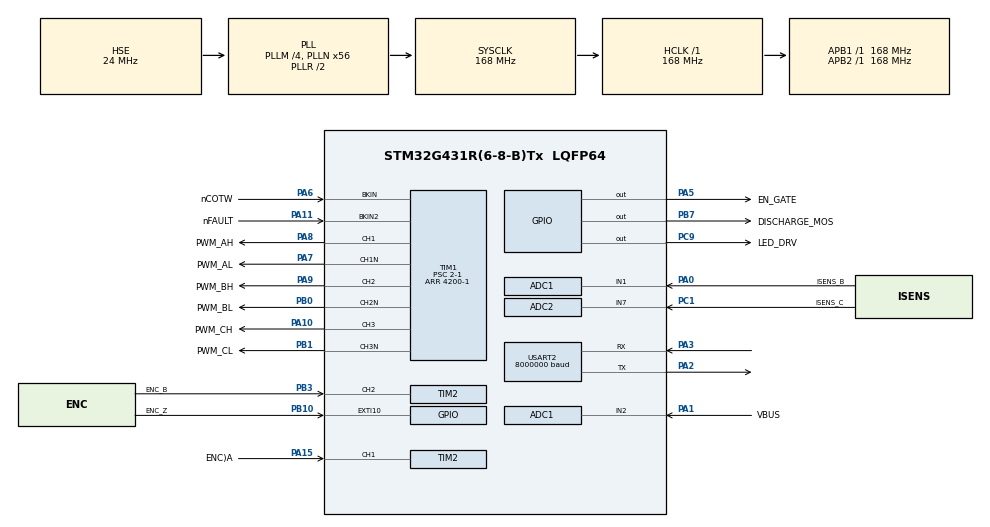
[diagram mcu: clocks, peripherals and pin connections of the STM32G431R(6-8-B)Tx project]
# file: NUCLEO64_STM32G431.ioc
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ADC1.Channel-0\#ChannelRegularConversion=ADC_CHANNEL_1
ADC1.EnableInjectedConversion=ENABLE
ADC1.ExternalTrigInjecConv=ADC_EXTERNALTRIGINJEC_T1_TRGO
ADC1.InjNumberOfConversion=2
ADC1.InjectedChannel-1\#ChannelInjectedConversion=ADC_CHANNEL_1
ADC1.InjectedChannel-2\#ChannelInjectedConversion=ADC_CHANNEL_2
ADC1.InjectedOffsetNumber-1\#ChannelInjectedConversion=ADC_OFFSET_NONE
ADC1.InjectedOffsetNumber-2\#ChannelInjectedConversion=ADC_OFFSET_NONE
ADC1.InjectedRank-1\#ChannelInjectedConversion=1
ADC1.InjectedRank-2\#ChannelInjectedConversion=2
ADC1.InjectedSamplingTime-1\#ChannelInjectedConversion=ADC_SAMPLETIME_12CYCLES_5
ADC1.InjectedSamplingTime-2\#ChannelInjectedConversion=ADC_SAMPLETIME_12CYCLES_5
ADC1.NbrOfConversionFlag=1
ADC1.OffsetNumber-0\#ChannelRegularConversion=ADC_OFFSET_NONE
ADC1.Rank-0\#ChannelRegularConversion=1
ADC1.Rank1_Channel=ADC_CHANNEL_1
ADC1.Rank2_Channel=ADC_CHANNEL_2
ADC1.SamplingTime-0\#ChannelRegularConversion=ADC_SAMPLETIME_2CYCLES_5
ADC1.master=1
ADC2.Channel-0\#ChannelRegularConversion=ADC_CHANNEL_7
ADC2.EnableInjectedConversion=ENABLE
ADC2.ExternalTrigInjecConv=ADC_EXTERNALTRIGINJEC_T1_TRGO
ADC2.InjNumberOfConversion=1
ADC2.InjectedChannel-1\#ChannelInjectedConversion=ADC_CHANNEL_7
ADC2.InjectedOffsetNumber-1\#ChannelInjectedConversion=ADC_OFFSET_NONE
ADC2.InjectedRank-1\#ChannelInjectedConversion=1
ADC2.InjectedSamplingTime-1\#ChannelInjectedConversion=ADC_SAMPLETIME_12CYCLES_5
ADC2.NbrOfConversionFlag=1
ADC2.OffsetNumber-0\#ChannelRegularConversion=ADC_OFFSET_NONE
ADC2.Rank-0\#ChannelRegularConversion=1
ADC2.Rank1_Channel=ADC_CHANNEL_7
ADC2.SamplingTime-0\#ChannelRegularConversion=ADC_SAMPLETIME_2CYCLES_5
CRC.CRCLength=CRC_POLYLENGTH_16B
CRC.DefaultInitValueUse=DEFAULT_INIT_VALUE_DISABLE
CRC.DefaultPolynomialUse=DEFAULT_POLYNOMIAL_DISABLE
CRC.GeneratingPolynomial=X15+X2+X0
CRC.InitValue=0xFFFF
CRC.InputDataInversionMode=CRC_INPUTDATA_INVERSION_BYTE
CRC.OutputDataInversionMode=CRC_OUTPUTDATA_INVERSION_ENABLE
Dma.Request0=USART2_TX
Dma.Request1=USART2_RX
Dma.USART2_RX.1.Direction=DMA_PERIPH_TO_MEMORY
Dma.USART2_RX.1.EventEnable=DISABLE
Dma.USART2_RX.1.Instance=DMA1_Channel2
Dma.USART2_RX.1.MemDataAlignment=DMA_MDATAALIGN_BYTE
Dma.USART2_RX.1.MemInc=DMA_MINC_ENABLE
Dma.USART2_RX.1.Mode=DMA_NORMAL
Dma.USART2_RX.1.PeriphDataAlignment=DMA_PDATAALIGN_BYTE
Dma.USART2_RX.1.PeriphInc=DMA_PINC_DISABLE
Dma.USART2_RX.1.Polarity=HAL_DMAMUX_REQ_GEN_RISING
Dma.USART2_RX.1.Priority=DMA_PRIORITY_LOW
Dma.USART2_RX.1.RequestNumber=1
Dma.USART2_RX.1.SignalID=NONE
Dma.USART2_RX.1.SyncEnable=DISABLE
Dma.USART2_RX.1.SyncPolarity=HAL_DMAMUX_SYNC_NO_EVENT
Dma.USART2_RX.1.SyncRequestNumber=1
Dma.USART2_RX.1.SyncSignalID=NONE
Dma.USART2_TX.0.Direction=DMA_MEMORY_TO_PERIPH
Dma.USART2_TX.0.EventEnable=DISABLE
Dma.USART2_TX.0.Instance=DMA1_Channel1
Dma.USART2_TX.0.MemDataAlignment=DMA_MDATAALIGN_BYTE
Dma.USART2_TX.0.MemInc=DMA_MINC_ENABLE
Dma.USART2_TX.0.Mode=DMA_NORMAL
Dma.USART2_TX.0.PeriphDataAlignment=DMA_PDATAALIGN_BYTE
Dma.USART2_TX.0.PeriphInc=DMA_PINC_DISABLE
Dma.USART2_TX.0.Polarity=HAL_DMAMUX_REQ_GEN_RISING
Dma.USART2_TX.0.Priority=DMA_PRIORITY_LOW
Dma.USART2_TX.0.RequestNumber=1
Dma.USART2_TX.0.SignalID=NONE
Dma.USART2_TX.0.SyncEnable=DISABLE
Dma.USART2_TX.0.SyncPolarity=HAL_DMAMUX_SYNC_NO_EVENT
Dma.USART2_TX.0.SyncRequestNumber=1
Dma.USART2_TX.0.SyncSignalID=NONE
Mcu.Family=STM32G4
Mcu.Name=STM32G431R(6-8-B)Tx
Mcu.Package=LQFP64
NVIC.ADC1_2_IRQn=true\:1\:0\:true\:false\:true\:true\:true
NVIC.DMA1_Channel1_IRQn=true\:0\:0\:false\:false\:true\:false\:true
NVIC.DMA1_Channel2_IRQn=true\:0\:0\:false\:false\:true\:false\:true
NVIC.EXTI15_10_IRQn=true\:2\:0\:true\:false\:true\:true\:true
NVIC.PriorityGroup=NVIC_PRIORITYGROUP_4
NVIC.USART2_IRQn=true\:3\:0\:true\:false\:true\:true\:true
PA0.GPIO_Label=ISENS_B
PA0.Mode=IN1-Single-Ended
PA0.Signal=ADC1_IN1
PA1.GPIO_Label=VBUS
PA1.Mode=IN2-Single-Ended
PA1.Signal=ADC1_IN2
PA10.GPIO_Label=PWM_CH
PA10.Signal=S_TIM1_CH3
PA11.GPIO_Label=nFAULT
PA11.Mode=Activate-Break-Input-2
PA11.Signal=TIM1_BKIN2
PA13.Mode=Serial_Wire
PA13.Signal=SYS_JTMS-SWDIO
PA14.Mode=Serial_Wire
PA14.Signal=SYS_JTCK-SWCLK
PA15.GPIO_Label=ENC)A
PA15.Signal=S_TIM2_CH1
PA2.GPIO_Speed=GPIO_SPEED_FREQ_MEDIUM
PA2.Mode=Asynchronous
PA2.Signal=USART2_TX
PA3.GPIO_Speed=GPIO_SPEED_FREQ_MEDIUM
PA3.Mode=Asynchronous
PA3.Signal=USART2_RX
PA5.GPIO_Label=EN_GATE
PA5.Signal=GPIO_Output
PA6.GPIO_Label=nCOTW
PA6.Mode=Activate-Break-Input
PA6.Signal=TIM1_BKIN
PA7.GPIO_Label=PWM_AL
PA7.Mode=PWM Generation1 CH1 CH1N
PA7.Signal=TIM1_CH1N
PA8.GPIO_Label=PWM_AH
PA8.Signal=S_TIM1_CH1
PA9.GPIO_Label=PWM_BH
PA9.Signal=S_TIM1_CH2
PB0.GPIO_Label=PWM_BL
PB0.Mode=PWM Generation2 CH2 CH2N
PB0.Signal=TIM1_CH2N
PB1.GPIO_Label=PWM_CL
PB1.Mode=PWM Generation3 CH3 CH3N
PB1.Signal=TIM1_CH3N
PB10.GPIO_Label=ENC_Z
PB10.Signal=GPXTI10
PB3.GPIO_Label=ENC_B
PB3.Signal=S_TIM2_CH2
PB7.GPIO_Label=DISCHARGE_MOS
PB7.Signal=GPIO_Output
PC1.GPIO_Label=ISENS_C
PC1.Mode=IN7-Single-Ended
PC1.Signal=ADC2_IN7
PC9.GPIO_Label=LED_DRV
PC9.Signal=GPIO_Output
PF0-OSC_IN.Mode=HSE-External-Oscillator
PF0-OSC_IN.Signal=RCC_OSC_IN
PF1-OSC_OUT.Mode=HSE-External-Oscillator
PF1-OSC_OUT.Signal=RCC_OSC_OUT
ProjectManager.HeapSize=0x200
ProjectManager.StackSize=0x400
ProjectManager.TargetToolchain=MDK-ARM V5.27
RCC.ADC12Freq_Value=168000000
RCC.AHBFreq_Value=168000000
RCC.APB1Freq_Value=168000000
RCC.APB1TimFreq_Value=168000000
RCC.APB2Freq_Value=168000000
RCC.APB2TimFreq_Value=168000000
RCC.CortexFreq_Value=168000000
RCC.EXTERNAL_CLOCK_VALUE=12288000
RCC.HCLKFreq_Value=168000000
RCC.HSE_VALUE=24000000
RCC.HSI48_VALUE=48000000
RCC.HSI_VALUE=16000000
RCC.LSE_VALUE=32768
RCC.PLLM=RCC_PLLM_DIV4
RCC.PLLN=56
RCC.PLLSourceVirtual=RCC_PLLSOURCE_HSE
RCC.SYSCLKFreq_VALUE=168000000
RCC.SYSCLKSource=RCC_SYSCLKSOURCE_PLLCLK
RCC.USBFreq_Value=168000000
RCC.VCOOutputFreq_Value=336000000
SH.S_TIM1_CH1.0=TIM1_CH1,PWM Generation1 CH1 CH1N
SH.S_TIM1_CH2.0=TIM1_CH2,PWM Generation2 CH2 CH2N
SH.S_TIM1_CH3.0=TIM1_CH3,PWM Generation3 CH3 CH3N
SH.S_TIM2_CH1.0=TIM2_CH1,Encoder_Interface
SH.S_TIM2_CH2.0=TIM2_CH2,Encoder_Interface
TIM1.Break2State=TIM_BREAK2_DISABLE
TIM1.BreakFilter=15
TIM1.BreakState=TIM_BREAK_DISABLE
TIM1.Channel-PWM\ Generation1\ CH1\ CH1N=TIM_CHANNEL_1
TIM1.Channel-PWM\ Generation2\ CH2\ CH2N=TIM_CHANNEL_2
TIM1.Channel-PWM\ Generation3\ CH3\ CH3N=TIM_CHANNEL_3
TIM1.Channel-PWM\ Generation4\ No\ Output=TIM_CHANNEL_4
TIM1.CounterMode=TIM_COUNTERMODE_CENTERALIGNED1
TIM1.DeadTime=68
TIM1.OCMode_PWM-PWM\ Generation4\ No\ Output=TIM_OCMODE_PWM2
TIM1.PeriodNoDither=4200-1
TIM1.Prescaler=2-1
TIM1.PulseNoDither_4=4200-2
TIM1.RepetitionCounter=1
TIM1.SourceBRK2DigInput=TIM_BREAKINPUTSOURCE_DISABLE
TIM1.SourceBRKDigInput=TIM_BREAKINPUTSOURCE_DISABLE
TIM1.TIM_MasterOutputTrigger=TIM_TRGO_OC4REF
TIM2.EncoderMode=TIM_ENCODERMODE_TI12
TIM2.IC1Filter=15
TIM2.IC2Filter=15
USART2.BaudRate=8000000
USART2.VirtualMode-Asynchronous=VM_ASYNC
VP_CORDIC_VS_CORDIC.Mode=CORDIC_Activate
VP_CRC_VS_CRC.Mode=CRC_Activate
VP_SYS_VS_DBSignals.Mode=DisableDeadBatterySignals
VP_TIM1_VS_ClockSourceINT.Mode=Internal
VP_TIM1_VS_no_output4.Mode=PWM Generation4 No Output
VP_TIM4_VS_ClockSourceINT.Mode=Internal
board=custom

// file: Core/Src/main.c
/* USER CODE BEGIN Header */
/**
  ******************************************************************************
  * @file           : main.c
  * @brief          : Main program body
  ******************************************************************************
  * @attention
  *
  * <h2><center>&copy; Copyright (c) 2021 STMicroelectronics.
  * All rights reserved.</center></h2>
  *
  * This software component is licensed by ST under BSD 3-Clause license,
  * the "License"; You may not use this file except in compliance with the
  * License. You may obtain a copy of the License at:
  *                        opensource.org/licenses/BSD-3-Clause
  *
  ******************************************************************************
  */
/* USER CODE END Header */
#include "main.h"

ADC_HandleTypeDef hadc1;
ADC_HandleTypeDef hadc2;

CRC_HandleTypeDef hcrc;

TIM_HandleTypeDef htim1;
TIM_HandleTypeDef htim2;
TIM_HandleTypeDef htim4;

UART_HandleTypeDef huart2;
DMA_HandleTypeDef hdma_usart2_tx;
DMA_HandleTypeDef hdma_usart2_rx;

/* USER CODE BEGIN PV */
uint8_t aRxBuffer[100];
/* USER CODE END PV */

void SystemClock_Config(void);
static void MX_GPIO_Init(void);
static void MX_DMA_Init(void);
static void MX_ADC1_Init(void);
static void MX_ADC2_Init(void);
static void MX_TIM1_Init(void);
static void MX_TIM2_Init(void);
static void MX_TIM4_Init(void);
static void MX_USART2_UART_Init(void);
static void MX_CORDIC_Init(void);
static void MX_CRC_Init(void);

int main(void)
{

  /* MCU Configuration--------------------------------------------------------*/

  /* Reset of all peripherals, Initializes the Flash interface and the Systick. */
  HAL_Init();

  /* Configure the system clock */
  SystemClock_Config();

  /* Initialize all configured peripherals */
  MX_GPIO_Init();
  MX_DMA_Init();
  MX_ADC1_Init();
  MX_ADC2_Init();
  MX_TIM1_Init();
  MX_TIM2_Init();
  MX_TIM4_Init();
  MX_USART2_UART_Init();
  MX_CORDIC_Init();
  MX_CRC_Init();
  /* USER CODE BEGIN 2 */

	HAL_ADCEx_Calibration_Start( &hadc1, ADC_SINGLE_ENDED);
	HAL_ADCEx_Calibration_Start( &hadc2, ADC_SINGLE_ENDED);
	__HAL_ADC_CLEAR_FLAG( &hadc1, ADC_FLAG_JEOC);
	__HAL_ADC_CLEAR_FLAG( &hadc2, ADC_FLAG_JEOC);
	HAL_ADCEx_InjectedStart_IT( &hadc1);
	HAL_ADCEx_InjectedStart( &hadc2);

	HAL_Delay(10);

	__HAL_TIM_CLEAR_FLAG( &htim1, TIM_FLAG_BREAK);
	HAL_TIM_Base_Start( &htim1);
	HAL_TIM_PWM_Start( &htim1, TIM_CHANNEL_4);

	__HAL_TIM_CLEAR_FLAG( &htim2, TIM_FLAG_BREAK);
	HAL_TIM_Encoder_Start( &htim2, TIM_CHANNEL_ALL);

	__HAL_TIM_CLEAR_FLAG( &htim4, TIM_FLAG_BREAK);
	HAL_TIM_Base_Start( &htim4);

	HAL_UART_Receive_DMA( &huart2, aRxBuffer, 3*4+2);
	__HAL_UART_ENABLE_IT( &huart2, UART_IT_IDLE);
	__HAL_UART_CLEAR_IT( &huart2, UART_CLEAR_IDLEF);
	__HAL_UART_DISABLE_IT( &huart2, UART_IT_TC);
	__HAL_UART_CLEAR_IT( &huart2, UART_CLEAR_TCF);
  /* USER CODE END 2 */

  /* Infinite loop */
  while (1)
  {

  }
}

void SystemClock_Config(void)
{
  RCC_OscInitTypeDef RCC_OscInitStruct = {0};
  RCC_ClkInitTypeDef RCC_ClkInitStruct = {0};
  RCC_PeriphCLKInitTypeDef PeriphClkInit = {0};

  /** Configure the main internal regulator output voltage
  */
  HAL_PWREx_ControlVoltageScaling(PWR_REGULATOR_VOLTAGE_SCALE1_BOOST);
  /** Initializes the RCC Oscillators according to the specified parameters
  * in the RCC_OscInitTypeDef structure.
  */
  RCC_OscInitStruct.OscillatorType = RCC_OSCILLATORTYPE_HSE;
  RCC_OscInitStruct.HSEState = RCC_HSE_ON;
  RCC_OscInitStruct.PLL.PLLState = RCC_PLL_ON;
  RCC_OscInitStruct.PLL.PLLSource = RCC_PLLSOURCE_HSE;
  RCC_OscInitStruct.PLL.PLLM = RCC_PLLM_DIV4;
  RCC_OscInitStruct.PLL.PLLN = 56;
  RCC_OscInitStruct.PLL.PLLP = RCC_PLLP_DIV2;
  RCC_OscInitStruct.PLL.PLLQ = RCC_PLLQ_DIV2;
  RCC_OscInitStruct.PLL.PLLR = RCC_PLLR_DIV2;
  if (HAL_RCC_OscConfig(&RCC_OscInitStruct) != HAL_OK)
  {
    Error_Handler();
  }
  /** Initializes the CPU, AHB and APB buses clocks
  */
  RCC_ClkInitStruct.ClockType = RCC_CLOCKTYPE_HCLK|RCC_CLOCKTYPE_SYSCLK
                              |RCC_CLOCKTYPE_PCLK1|RCC_CLOCKTYPE_PCLK2;
  RCC_ClkInitStruct.SYSCLKSource = RCC_SYSCLKSOURCE_PLLCLK;
  RCC_ClkInitStruct.AHBCLKDivider = RCC_SYSCLK_DIV1;
  RCC_ClkInitStruct.APB1CLKDivider = RCC_HCLK_DIV1;
  RCC_ClkInitStruct.APB2CLKDivider = RCC_HCLK_DIV1;

  if (HAL_RCC_ClockConfig(&RCC_ClkInitStruct, FLASH_LATENCY_4) != HAL_OK)
  {
    Error_Handler();
  }
  /** Initializes the peripherals clocks
  */
  PeriphClkInit.PeriphClockSelection = RCC_PERIPHCLK_USART2|RCC_PERIPHCLK_ADC12;
  PeriphClkInit.Usart2ClockSelection = RCC_USART2CLKSOURCE_PCLK1;
  PeriphClkInit.Adc12ClockSelection = RCC_ADC12CLKSOURCE_SYSCLK;
  if (HAL_RCCEx_PeriphCLKConfig(&PeriphClkInit) != HAL_OK)
  {
    Error_Handler();
  }
}

static void MX_ADC1_Init(void)
{

  ADC_MultiModeTypeDef multimode = {0};
  ADC_ChannelConfTypeDef sConfig = {0};
  ADC_InjectionConfTypeDef sConfigInjected = {0};

  /** Common config
  */
  hadc1.Instance = ADC1;
  hadc1.Init.ClockPrescaler = ADC_CLOCK_SYNC_PCLK_DIV4;
  hadc1.Init.Resolution = ADC_RESOLUTION_12B;
  hadc1.Init.DataAlign = ADC_DATAALIGN_RIGHT;
  hadc1.Init.GainCompensation = 0;
  hadc1.Init.ScanConvMode = ADC_SCAN_ENABLE;
  hadc1.Init.EOCSelection = ADC_EOC_SINGLE_CONV;
  hadc1.Init.LowPowerAutoWait = DISABLE;
  hadc1.Init.ContinuousConvMode = DISABLE;
  hadc1.Init.NbrOfConversion = 1;
  hadc1.Init.DiscontinuousConvMode = DISABLE;
  hadc1.Init.ExternalTrigConv = ADC_SOFTWARE_START;
  hadc1.Init.ExternalTrigConvEdge = ADC_EXTERNALTRIGCONVEDGE_NONE;
  hadc1.Init.DMAContinuousRequests = DISABLE;
  hadc1.Init.Overrun = ADC_OVR_DATA_PRESERVED;
  hadc1.Init.OversamplingMode = DISABLE;
  if (HAL_ADC_Init(&hadc1) != HAL_OK)
  {
    Error_Handler();
  }
  /** Configure the ADC multi-mode
  */
  multimode.Mode = ADC_MODE_INDEPENDENT;
  if (HAL_ADCEx_MultiModeConfigChannel(&hadc1, &multimode) != HAL_OK)
  {
    Error_Handler();
  }
  /** Configure Regular Channel
  */
  sConfig.Channel = ADC_CHANNEL_1;
  sConfig.Rank = ADC_REGULAR_RANK_1;
  sConfig.SamplingTime = ADC_SAMPLETIME_2CYCLES_5;
  sConfig.SingleDiff = ADC_SINGLE_ENDED;
  sConfig.OffsetNumber = ADC_OFFSET_NONE;
  sConfig.Offset = 0;
  if (HAL_ADC_ConfigChannel(&hadc1, &sConfig) != HAL_OK)
  {
    Error_Handler();
  }
  /** Configure Injected Channel
  */
  sConfigInjected.InjectedChannel = ADC_CHANNEL_1;
  sConfigInjected.InjectedRank = ADC_INJECTED_RANK_1;
  sConfigInjected.InjectedSamplingTime = ADC_SAMPLETIME_12CYCLES_5;
  sConfigInjected.InjectedSingleDiff = ADC_SINGLE_ENDED;
  sConfigInjected.InjectedOffsetNumber = ADC_OFFSET_NONE;
  sConfigInjected.InjectedOffset = 0;
  sConfigInjected.InjectedNbrOfConversion = 2;
  sConfigInjected.InjectedDiscontinuousConvMode = DISABLE;
  sConfigInjected.AutoInjectedConv = DISABLE;
  sConfigInjected.QueueInjectedContext = DISABLE;
  sConfigInjected.ExternalTrigInjecConv = ADC_EXTERNALTRIGINJEC_T1_TRGO;
  sConfigInjected.ExternalTrigInjecConvEdge = ADC_EXTERNALTRIGINJECCONV_EDGE_RISING;
  sConfigInjected.InjecOversamplingMode = DISABLE;
  if (HAL_ADCEx_InjectedConfigChannel(&hadc1, &sConfigInjected) != HAL_OK)
  {
    Error_Handler();
  }
  /** Configure Injected Channel
  */
  sConfigInjected.InjectedChannel = ADC_CHANNEL_2;
  sConfigInjected.InjectedRank = ADC_INJECTED_RANK_2;
  if (HAL_ADCEx_InjectedConfigChannel(&hadc1, &sConfigInjected) != HAL_OK)
  {
    Error_Handler();
  }

}

static void MX_ADC2_Init(void)
{

  ADC_ChannelConfTypeDef sConfig = {0};
  ADC_InjectionConfTypeDef sConfigInjected = {0};

  /** Common config
  */
  hadc2.Instance = ADC2;
  hadc2.Init.ClockPrescaler = ADC_CLOCK_SYNC_PCLK_DIV4;
  hadc2.Init.Resolution = ADC_RESOLUTION_12B;
  hadc2.Init.DataAlign = ADC_DATAALIGN_RIGHT;
  hadc2.Init.GainCompensation = 0;
  hadc2.Init.ScanConvMode = ADC_SCAN_DISABLE;
  hadc2.Init.EOCSelection = ADC_EOC_SINGLE_CONV;
  hadc2.Init.LowPowerAutoWait = DISABLE;
  hadc2.Init.ContinuousConvMode = DISABLE;
  hadc2.Init.NbrOfConversion = 1;
  hadc2.Init.DiscontinuousConvMode = DISABLE;
  hadc2.Init.ExternalTrigConv = ADC_SOFTWARE_START;
  hadc2.Init.ExternalTrigConvEdge = ADC_EXTERNALTRIGCONVEDGE_NONE;
  hadc2.Init.DMAContinuousRequests = DISABLE;
  hadc2.Init.Overrun = ADC_OVR_DATA_PRESERVED;
  hadc2.Init.OversamplingMode = DISABLE;
  if (HAL_ADC_Init(&hadc2) != HAL_OK)
  {
    Error_Handler();
  }
  /** Configure Regular Channel
  */
  sConfig.Channel = ADC_CHANNEL_7;
  sConfig.Rank = ADC_REGULAR_RANK_1;
  sConfig.SamplingTime = ADC_SAMPLETIME_2CYCLES_5;
  sConfig.SingleDiff = ADC_SINGLE_ENDED;
  sConfig.OffsetNumber = ADC_OFFSET_NONE;
  sConfig.Offset = 0;
  if (HAL_ADC_ConfigChannel(&hadc2, &sConfig) != HAL_OK)
  {
    Error_Handler();
  }
  /** Configure Injected Channel
  */
  sConfigInjected.InjectedChannel = ADC_CHANNEL_7;
  sConfigInjected.InjectedRank = ADC_INJECTED_RANK_1;
  sConfigInjected.InjectedSamplingTime = ADC_SAMPLETIME_12CYCLES_5;
  sConfigInjected.InjectedSingleDiff = ADC_SINGLE_ENDED;
  sConfigInjected.InjectedOffsetNumber = ADC_OFFSET_NONE;
  sConfigInjected.InjectedOffset = 0;
  sConfigInjected.InjectedNbrOfConversion = 1;
  sConfigInjected.InjectedDiscontinuousConvMode = DISABLE;
  sConfigInjected.AutoInjectedConv = DISABLE;
  sConfigInjected.QueueInjectedContext = DISABLE;
  sConfigInjected.ExternalTrigInjecConv = ADC_EXTERNALTRIGINJEC_T1_TRGO;
  sConfigInjected.ExternalTrigInjecConvEdge = ADC_EXTERNALTRIGINJECCONV_EDGE_RISING;
  sConfigInjected.InjecOversamplingMode = DISABLE;
  if (HAL_ADCEx_InjectedConfigChannel(&hadc2, &sConfigInjected) != HAL_OK)
  {
    Error_Handler();
  }

}

static void MX_CORDIC_Init(void)
{

  /* Peripheral clock enable */
  LL_AHB1_GRP1_EnableClock(LL_AHB1_GRP1_PERIPH_CORDIC);

  /* nothing else to be configured */

}

static void MX_CRC_Init(void)
{

  hcrc.Instance = CRC;
  hcrc.Init.DefaultPolynomialUse = DEFAULT_POLYNOMIAL_DISABLE;
  hcrc.Init.DefaultInitValueUse = DEFAULT_INIT_VALUE_DISABLE;
  hcrc.Init.GeneratingPolynomial = 32773;
  hcrc.Init.CRCLength = CRC_POLYLENGTH_16B;
  hcrc.Init.InitValue = 0xFFFF;
  hcrc.Init.InputDataInversionMode = CRC_INPUTDATA_INVERSION_BYTE;
  hcrc.Init.OutputDataInversionMode = CRC_OUTPUTDATA_INVERSION_ENABLE;
  hcrc.InputDataFormat = CRC_INPUTDATA_FORMAT_BYTES;
  if (HAL_CRC_Init(&hcrc) != HAL_OK)
  {
    Error_Handler();
  }

}

static void MX_TIM1_Init(void)
{

  TIM_ClockConfigTypeDef sClockSourceConfig = {0};
  TIM_MasterConfigTypeDef sMasterConfig = {0};
  TIM_OC_InitTypeDef sConfigOC = {0};
  TIM_BreakDeadTimeConfigTypeDef sBreakDeadTimeConfig = {0};

  htim1.Instance = TIM1;
  htim1.Init.Prescaler = 2-1;
  htim1.Init.CounterMode = TIM_COUNTERMODE_CENTERALIGNED1;
  htim1.Init.Period = 4199;
  htim1.Init.ClockDivision = TIM_CLOCKDIVISION_DIV1;
  htim1.Init.RepetitionCounter = 1;
  htim1.Init.AutoReloadPreload = TIM_AUTORELOAD_PRELOAD_DISABLE;
  if (HAL_TIM_Base_Init(&htim1) != HAL_OK)
  {
    Error_Handler();
  }
  sClockSourceConfig.ClockSource = TIM_CLOCKSOURCE_INTERNAL;
  if (HAL_TIM_ConfigClockSource(&htim1, &sClockSourceConfig) != HAL_OK)
  {
    Error_Handler();
  }
  if (HAL_TIM_PWM_Init(&htim1) != HAL_OK)
  {
    Error_Handler();
  }
  sMasterConfig.MasterOutputTrigger = TIM_TRGO_OC4REF;
  sMasterConfig.MasterOutputTrigger2 = TIM_TRGO2_RESET;
  sMasterConfig.MasterSlaveMode = TIM_MASTERSLAVEMODE_DISABLE;
  if (HAL_TIMEx_MasterConfigSynchronization(&htim1, &sMasterConfig) != HAL_OK)
  {
    Error_Handler();
  }
  sConfigOC.OCMode = TIM_OCMODE_PWM1;
  sConfigOC.Pulse = 0;
  sConfigOC.OCPolarity = TIM_OCPOLARITY_HIGH;
  sConfigOC.OCNPolarity = TIM_OCNPOLARITY_HIGH;
  sConfigOC.OCFastMode = TIM_OCFAST_DISABLE;
  sConfigOC.OCIdleState = TIM_OCIDLESTATE_RESET;
  sConfigOC.OCNIdleState = TIM_OCNIDLESTATE_RESET;
  if (HAL_TIM_PWM_ConfigChannel(&htim1, &sConfigOC, TIM_CHANNEL_1) != HAL_OK)
  {
    Error_Handler();
  }
  sConfigOC.Pulse = 0;
  if (HAL_TIM_PWM_ConfigChannel(&htim1, &sConfigOC, TIM_CHANNEL_2) != HAL_OK)
  {
    Error_Handler();
  }
  sConfigOC.Pulse = 0;
  if (HAL_TIM_PWM_ConfigChannel(&htim1, &sConfigOC, TIM_CHANNEL_3) != HAL_OK)
  {
    Error_Handler();
  }
  sConfigOC.OCMode = TIM_OCMODE_PWM2;
  sConfigOC.Pulse = 4198;
  sConfigOC.OCNPolarity = TIM_OCNPOLARITY_HIGH;
  if (HAL_TIM_PWM_ConfigChannel(&htim1, &sConfigOC, TIM_CHANNEL_4) != HAL_OK)
  {
    Error_Handler();
  }
  sBreakDeadTimeConfig.OffStateRunMode = TIM_OSSR_ENABLE;
  sBreakDeadTimeConfig.OffStateIDLEMode = TIM_OSSI_ENABLE;
  sBreakDeadTimeConfig.LockLevel = TIM_LOCKLEVEL_OFF;
  sBreakDeadTimeConfig.DeadTime = 68;
  sBreakDeadTimeConfig.BreakState = TIM_BREAK_DISABLE;
  sBreakDeadTimeConfig.BreakPolarity = TIM_BREAKPOLARITY_HIGH;
  sBreakDeadTimeConfig.BreakFilter = 15;
  sBreakDeadTimeConfig.BreakAFMode = TIM_BREAK_AFMODE_INPUT;
  sBreakDeadTimeConfig.Break2State = TIM_BREAK2_DISABLE;
  sBreakDeadTimeConfig.Break2Polarity = TIM_BREAK2POLARITY_HIGH;
  sBreakDeadTimeConfig.Break2Filter = 0;
  sBreakDeadTimeConfig.Break2AFMode = TIM_BREAK_AFMODE_INPUT;
  sBreakDeadTimeConfig.AutomaticOutput = TIM_AUTOMATICOUTPUT_DISABLE;
  if (HAL_TIMEx_ConfigBreakDeadTime(&htim1, &sBreakDeadTimeConfig) != HAL_OK)
  {
    Error_Handler();
  }
  HAL_TIM_MspPostInit(&htim1);

}

static void MX_TIM2_Init(void)
{

  TIM_Encoder_InitTypeDef sConfig = {0};
  TIM_MasterConfigTypeDef sMasterConfig = {0};

  htim2.Instance = TIM2;
  htim2.Init.Prescaler = 0;
  htim2.Init.CounterMode = TIM_COUNTERMODE_UP;
  htim2.Init.Period = 4.294967295E9;
  htim2.Init.ClockDivision = TIM_CLOCKDIVISION_DIV1;
  htim2.Init.AutoReloadPreload = TIM_AUTORELOAD_PRELOAD_DISABLE;
  sConfig.EncoderMode = TIM_ENCODERMODE_TI12;
  sConfig.IC1Polarity = TIM_ICPOLARITY_RISING;
  sConfig.IC1Selection = TIM_ICSELECTION_DIRECTTI;
  sConfig.IC1Prescaler = TIM_ICPSC_DIV1;
  sConfig.IC1Filter = 15;
  sConfig.IC2Polarity = TIM_ICPOLARITY_RISING;
  sConfig.IC2Selection = TIM_ICSELECTION_DIRECTTI;
  sConfig.IC2Prescaler = TIM_ICPSC_DIV1;
  sConfig.IC2Filter = 15;
  if (HAL_TIM_Encoder_Init(&htim2, &sConfig) != HAL_OK)
  {
    Error_Handler();
  }
  sMasterConfig.MasterOutputTrigger = TIM_TRGO_RESET;
  sMasterConfig.MasterSlaveMode = TIM_MASTERSLAVEMODE_DISABLE;
  if (HAL_TIMEx_MasterConfigSynchronization(&htim2, &sMasterConfig) != HAL_OK)
  {
    Error_Handler();
  }

}

static void MX_TIM4_Init(void)
{

  TIM_ClockConfigTypeDef sClockSourceConfig = {0};
  TIM_MasterConfigTypeDef sMasterConfig = {0};

  htim4.Instance = TIM4;
  htim4.Init.Prescaler = 0;
  htim4.Init.CounterMode = TIM_COUNTERMODE_UP;
  htim4.Init.Period = 65535;
  htim4.Init.ClockDivision = TIM_CLOCKDIVISION_DIV1;
  htim4.Init.AutoReloadPreload = TIM_AUTORELOAD_PRELOAD_DISABLE;
  if (HAL_TIM_Base_Init(&htim4) != HAL_OK)
  {
    Error_Handler();
  }
  sClockSourceConfig.ClockSource = TIM_CLOCKSOURCE_INTERNAL;
  if (HAL_TIM_ConfigClockSource(&htim4, &sClockSourceConfig) != HAL_OK)
  {
    Error_Handler();
  }
  sMasterConfig.MasterOutputTrigger = TIM_TRGO_RESET;
  sMasterConfig.MasterSlaveMode = TIM_MASTERSLAVEMODE_DISABLE;
  if (HAL_TIMEx_MasterConfigSynchronization(&htim4, &sMasterConfig) != HAL_OK)
  {
    Error_Handler();
  }

}

static void MX_USART2_UART_Init(void)
{

  huart2.Instance = USART2;
  huart2.Init.BaudRate = 8000000;
  huart2.Init.WordLength = UART_WORDLENGTH_8B;
  huart2.Init.StopBits = UART_STOPBITS_1;
  huart2.Init.Parity = UART_PARITY_NONE;
  huart2.Init.Mode = UART_MODE_TX_RX;
  huart2.Init.HwFlowCtl = UART_HWCONTROL_NONE;
  huart2.Init.OverSampling = UART_OVERSAMPLING_16;
  huart2.Init.OneBitSampling = UART_ONE_BIT_SAMPLE_DISABLE;
  huart2.Init.ClockPrescaler = UART_PRESCALER_DIV1;
  huart2.AdvancedInit.AdvFeatureInit = UART_ADVFEATURE_NO_INIT;
  if (HAL_UART_Init(&huart2) != HAL_OK)
  {
    Error_Handler();
  }
  if (HAL_UARTEx_SetTxFifoThreshold(&huart2, UART_TXFIFO_THRESHOLD_1_8) != HAL_OK)
  {
    Error_Handler();
  }
  if (HAL_UARTEx_SetRxFifoThreshold(&huart2, UART_RXFIFO_THRESHOLD_1_8) != HAL_OK)
  {
    Error_Handler();
  }
  if (HAL_UARTEx_DisableFifoMode(&huart2) != HAL_OK)
  {
    Error_Handler();
  }

}

static void MX_DMA_Init(void)
{

  /* DMA controller clock enable */
  __HAL_RCC_DMAMUX1_CLK_ENABLE();
  __HAL_RCC_DMA1_CLK_ENABLE();

  /* DMA interrupt init */
  /* DMA1_Channel1_IRQn interrupt configuration */
  HAL_NVIC_SetPriority(DMA1_Channel1_IRQn, 0, 0);
  HAL_NVIC_EnableIRQ(DMA1_Channel1_IRQn);
  /* DMA1_Channel2_IRQn interrupt configuration */
  HAL_NVIC_SetPriority(DMA1_Channel2_IRQn, 0, 0);
  HAL_NVIC_EnableIRQ(DMA1_Channel2_IRQn);

}

static void MX_GPIO_Init(void)
{
  GPIO_InitTypeDef GPIO_InitStruct = {0};

  /* GPIO Ports Clock Enable */
  __HAL_RCC_GPIOF_CLK_ENABLE();
  __HAL_RCC_GPIOC_CLK_ENABLE();
  __HAL_RCC_GPIOA_CLK_ENABLE();
  __HAL_RCC_GPIOB_CLK_ENABLE();

  /*Configure GPIO pin Output Level */
  HAL_GPIO_WritePin(EN_GATE_GPIO_Port, EN_GATE_Pin, GPIO_PIN_RESET);

  /*Configure GPIO pin Output Level */
  HAL_GPIO_WritePin(LED_DRV_GPIO_Port, LED_DRV_Pin, GPIO_PIN_RESET);

  /*Configure GPIO pin Output Level */
  HAL_GPIO_WritePin(DISCHARGE_MOS_GPIO_Port, DISCHARGE_MOS_Pin, GPIO_PIN_RESET);

  /*Configure GPIO pin : EN_GATE_Pin */
  GPIO_InitStruct.Pin = EN_GATE_Pin;
  GPIO_InitStruct.Mode = GPIO_MODE_OUTPUT_PP;
  GPIO_InitStruct.Pull = GPIO_NOPULL;
  GPIO_InitStruct.Speed = GPIO_SPEED_FREQ_LOW;
  HAL_GPIO_Init(EN_GATE_GPIO_Port, &GPIO_InitStruct);

  /*Configure GPIO pin : ENC_Z_Pin */
  GPIO_InitStruct.Pin = ENC_Z_Pin;
  GPIO_InitStruct.Mode = GPIO_MODE_IT_RISING;
  GPIO_InitStruct.Pull = GPIO_NOPULL;
  HAL_GPIO_Init(ENC_Z_GPIO_Port, &GPIO_InitStruct);

  /*Configure GPIO pin : LED_DRV_Pin */
  GPIO_InitStruct.Pin = LED_DRV_Pin;
  GPIO_InitStruct.Mode = GPIO_MODE_OUTPUT_PP;
  GPIO_InitStruct.Pull = GPIO_NOPULL;
  GPIO_InitStruct.Speed = GPIO_SPEED_FREQ_LOW;
  HAL_GPIO_Init(LED_DRV_GPIO_Port, &GPIO_InitStruct);

  /*Configure GPIO pin : DISCHARGE_MOS_Pin */
  GPIO_InitStruct.Pin = DISCHARGE_MOS_Pin;
  GPIO_InitStruct.Mode = GPIO_MODE_OUTPUT_PP;
  GPIO_InitStruct.Pull = GPIO_NOPULL;
  GPIO_InitStruct.Speed = GPIO_SPEED_FREQ_LOW;
  HAL_GPIO_Init(DISCHARGE_MOS_GPIO_Port, &GPIO_InitStruct);

  /* EXTI interrupt init*/
  HAL_NVIC_SetPriority(EXTI15_10_IRQn, 2, 0);
  HAL_NVIC_EnableIRQ(EXTI15_10_IRQn);

}

void Error_Handler(void)
{
}

/************************ (C) COPYRIGHT STMicroelectronics *****END OF FILE****/
